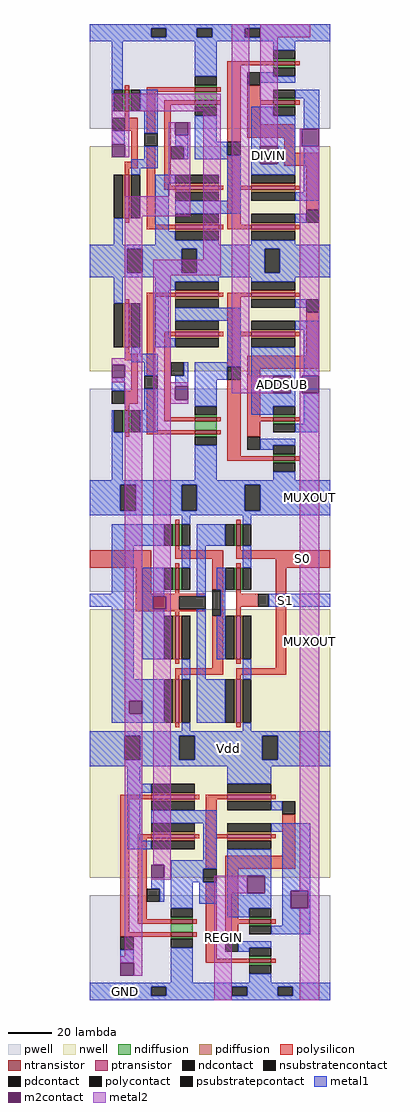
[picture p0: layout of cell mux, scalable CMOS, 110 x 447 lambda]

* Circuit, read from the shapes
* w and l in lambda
.subckt mux ADDSUB DIVIN GND MUXOUT REGIN S0 S1 Vdd
M1 n1 n2 GND GND nfet w=10 l=2
M2 n3 n4 GND GND nfet w=10 l=2
M3 n5 n2 GND GND nfet w=10 l=2
M4 n6 n4 n5 GND nfet w=10 l=2
M5 GND n7 n4 GND nfet w=10 l=2
M6 GND n8 n2 GND nfet w=10 l=2
M7 n9 n1 GND GND nfet w=10 l=2
M8 n10 n4 n9 GND nfet w=10 l=2
M9 n11 n2 n12 GND nfet w=10 l=2
M10 GND n3 n11 GND nfet w=10 l=2
M11 GND S1 n8 GND nfet w=10 l=2
M12 GND S0 n7 GND nfet w=10 l=2
M13 n13 n6 GND GND nfet w=10 l=2
M14 REGIN n13 MUXOUT GND nfet w=10 l=2
M15 n14 n10 GND GND nfet w=10 l=2
M16 ADDSUB n14 MUXOUT GND nfet w=10 l=2
M17 MUXOUT n15 DIVIN GND nfet w=10 l=2
M18 GND n12 n15 GND nfet w=10 l=2
M19 n1 n2 n16 n16 pfet w=20 l=2
M20 n3 n4 n16 n16 pfet w=20 l=2
M21 n6 n4 Vdd Vdd pfet w=20 l=2
M22 Vdd n2 n6 Vdd pfet w=20 l=2
M23 Vdd n8 n2 Vdd pfet w=20 l=2
M24 Vdd n7 n4 Vdd pfet w=20 l=2
M25 n10 n4 n16 n16 pfet w=20 l=2
M26 n16 n1 n10 n16 pfet w=20 l=2
M27 n12 n3 n16 n16 pfet w=20 l=2
M28 n16 n2 n12 n16 pfet w=20 l=2
M29 MUXOUT n6 REGIN Vdd pfet w=20 l=2
M30 Vdd n6 n13 Vdd pfet w=20 l=2
M31 Vdd S0 n7 Vdd pfet w=20 l=2
M32 Vdd S1 n8 Vdd pfet w=20 l=2
M33 MUXOUT n10 ADDSUB n16 pfet w=20 l=2
M34 n16 n10 n14 n16 pfet w=20 l=2
M35 n15 n12 n16 n16 pfet w=20 l=2
M36 DIVIN n12 MUXOUT n16 pfet w=20 l=2
.ends

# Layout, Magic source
magic
tech scmos
<< pwell >>
rect -20 399 90 447
rect -20 187 90 280
rect -20 0 90 48
<< nwell >>
rect -20 288 90 391
rect -20 56 90 179
<< polysilicon >>
rect 43 428 64 430
rect 74 428 76 430
rect -4 417 -2 419
rect 6 416 28 418
rect 38 416 40 418
rect -4 404 -2 407
rect -4 398 2 404
rect -1 384 2 398
rect 6 397 10 416
rect 14 410 28 412
rect 38 410 40 412
rect -4 381 2 384
rect -4 378 -2 381
rect -4 356 -2 358
rect 6 355 10 391
rect 14 373 17 410
rect 43 393 49 428
rect 52 412 58 419
rect 52 410 64 412
rect 74 410 76 412
rect 52 401 58 410
rect 52 395 74 401
rect 43 373 49 387
rect 69 388 74 395
rect 69 382 85 388
rect 14 371 19 373
rect 39 371 41 373
rect 43 371 54 373
rect 74 371 76 373
rect 43 355 49 371
rect 79 362 85 382
rect 6 353 19 355
rect 39 353 41 355
rect 43 353 54 355
rect 74 353 76 355
rect 6 322 19 324
rect 39 322 41 324
rect 43 322 54 324
rect 74 322 76 324
rect -4 319 -2 321
rect -4 296 -2 299
rect -4 293 2 296
rect -1 279 2 293
rect 6 286 10 322
rect 43 306 49 322
rect 14 304 19 306
rect 39 304 41 306
rect 43 304 54 306
rect 74 304 76 306
rect -4 273 2 279
rect -4 270 -2 273
rect 6 261 10 280
rect 14 267 17 304
rect 43 290 49 304
rect 79 295 85 315
rect 14 265 28 267
rect 38 265 40 267
rect -4 258 -2 260
rect 6 259 28 261
rect 38 259 40 261
rect 43 249 49 284
rect 52 289 85 295
rect 52 267 58 289
rect 52 265 64 267
rect 74 265 76 267
rect 52 258 58 265
rect 43 247 64 249
rect 74 247 76 249
rect 19 218 21 220
rect 47 218 49 220
rect 19 206 21 208
rect 47 206 49 208
rect -20 198 8 206
rect 19 202 41 206
rect 47 202 90 206
rect 19 198 21 200
rect 1 186 8 198
rect 36 188 41 202
rect 47 198 49 200
rect 65 198 90 202
rect 19 186 21 188
rect 1 185 33 186
rect 1 179 21 185
rect 1 178 33 179
rect 19 176 21 178
rect 40 176 41 188
rect 47 186 49 188
rect 47 180 57 186
rect 47 176 49 180
rect 19 154 21 156
rect 36 152 41 176
rect 47 154 49 156
rect 65 152 70 198
rect 19 149 41 152
rect 47 149 70 152
rect 19 147 21 149
rect 47 147 49 149
rect 19 125 21 127
rect 47 125 49 127
rect -6 92 8 94
rect 28 92 30 94
rect 33 92 43 94
rect 63 92 65 94
rect -6 31 -2 92
rect 33 76 38 92
rect 2 74 8 76
rect 28 74 30 76
rect 33 74 43 76
rect 63 74 65 76
rect 2 37 6 74
rect 33 60 38 74
rect 68 66 74 85
rect 2 35 17 37
rect 27 35 29 37
rect -6 29 17 31
rect 27 29 29 31
rect 33 19 38 54
rect 42 60 74 66
rect 42 37 48 60
rect 42 35 53 37
rect 63 35 65 37
rect 42 28 48 35
rect 33 17 53 19
rect 63 17 65 19
<< ndiffusion >>
rect 64 430 74 431
rect 28 418 38 419
rect -5 407 -4 417
rect -2 407 -1 417
rect 28 412 38 416
rect 28 409 38 410
rect 64 427 74 428
rect 64 412 74 413
rect 64 409 74 410
rect -5 260 -4 270
rect -2 260 -1 270
rect 28 267 38 268
rect 28 261 38 265
rect 28 258 38 259
rect 64 267 74 268
rect 64 264 74 265
rect 64 249 74 250
rect 64 246 74 247
rect 18 208 19 218
rect 21 208 22 218
rect 46 208 47 218
rect 49 208 50 218
rect 18 188 19 198
rect 21 188 22 198
rect 46 188 47 198
rect 49 188 50 198
rect 17 37 27 38
rect 17 31 27 35
rect 17 28 27 29
rect 53 37 63 38
rect 53 34 63 35
rect 53 19 63 20
rect 53 16 63 17
<< pdiffusion >>
rect -5 358 -4 378
rect -2 358 -1 378
rect 19 373 39 374
rect 54 373 74 374
rect 19 370 39 371
rect 19 355 39 356
rect 54 370 74 371
rect 54 355 74 356
rect 19 352 39 353
rect 54 352 74 353
rect 19 324 39 325
rect 54 324 74 325
rect -5 299 -4 319
rect -2 299 -1 319
rect 19 321 39 322
rect 19 306 39 307
rect 54 321 74 322
rect 54 306 74 307
rect 19 303 39 304
rect 54 303 74 304
rect 18 156 19 176
rect 21 156 22 176
rect 46 156 47 176
rect 49 156 50 176
rect 18 127 19 147
rect 21 127 22 147
rect 46 127 47 147
rect 49 127 50 147
rect 8 94 28 95
rect 43 94 63 95
rect 8 91 28 92
rect 8 76 28 77
rect 43 91 63 92
rect 43 76 63 77
rect 8 73 28 74
rect 43 73 63 74
<< metal1 >>
rect -20 445 90 447
rect -20 441 8 445
rect 15 441 29 445
rect 36 441 51 445
rect 58 441 90 445
rect -20 439 90 441
rect -10 417 -5 439
rect 28 423 38 439
rect 64 435 74 439
rect 58 423 64 425
rect 58 420 74 423
rect -10 407 -9 417
rect 3 407 11 417
rect 74 413 85 417
rect -10 392 -4 398
rect 5 397 11 407
rect 19 391 25 396
rect 5 385 11 391
rect 23 385 25 391
rect 28 393 38 405
rect 54 405 64 409
rect 28 387 43 393
rect 28 385 49 387
rect -1 381 11 385
rect -1 378 3 381
rect 10 374 19 378
rect -9 346 -5 358
rect 10 352 16 374
rect 43 366 49 385
rect 54 391 74 405
rect 78 399 85 413
rect 54 383 58 391
rect 66 383 74 391
rect 54 378 74 383
rect 78 370 85 391
rect 74 366 85 370
rect 19 360 49 366
rect 74 356 79 360
rect 10 348 19 352
rect 10 346 39 348
rect 54 346 74 348
rect -20 344 90 346
rect -20 333 -3 344
rect 4 333 22 344
rect 29 333 60 344
rect 67 333 90 344
rect -20 331 90 333
rect -9 319 -5 331
rect 10 329 39 331
rect 10 325 19 329
rect 54 329 74 331
rect 10 303 16 325
rect 74 317 79 321
rect 19 311 49 317
rect 10 299 19 303
rect -1 296 3 299
rect -1 292 11 296
rect 43 292 49 311
rect 74 307 85 311
rect -10 279 -4 285
rect 5 286 11 292
rect 23 286 25 292
rect 5 270 11 280
rect 19 281 25 286
rect 28 290 49 292
rect 28 284 43 290
rect 54 286 74 299
rect 78 286 85 307
rect -10 260 -9 270
rect 3 260 11 270
rect 28 272 38 284
rect 54 278 64 286
rect 72 278 74 286
rect 54 272 74 278
rect 54 268 64 272
rect 78 264 85 278
rect 74 260 85 264
rect -10 238 -5 260
rect 28 238 38 254
rect 58 254 74 257
rect 58 252 64 254
rect 64 238 74 242
rect -20 236 90 238
rect -20 224 -6 236
rect 1 224 22 236
rect 29 224 51 236
rect 58 224 90 236
rect -20 222 90 224
rect 22 218 26 222
rect 50 218 54 222
rect -10 208 14 218
rect -10 186 0 208
rect 22 198 26 208
rect -20 180 0 186
rect -10 147 0 180
rect 4 185 14 198
rect 29 208 42 218
rect 29 185 33 208
rect 50 198 54 208
rect 38 188 42 198
rect 4 179 9 185
rect 4 156 14 179
rect 22 147 26 156
rect -10 137 14 147
rect -10 131 -2 137
rect 4 131 14 137
rect -10 127 14 131
rect 29 147 33 179
rect 40 176 42 188
rect 62 180 90 186
rect 38 156 42 176
rect 50 147 54 156
rect 29 127 42 147
rect 22 123 26 127
rect 50 123 54 127
rect -20 121 90 123
rect -20 110 -4 121
rect 3 110 21 121
rect 28 110 59 121
rect 66 110 90 121
rect -20 107 90 110
rect -3 99 3 107
rect 43 99 63 107
rect -3 95 8 99
rect -3 73 3 95
rect 63 87 68 91
rect 8 81 38 87
rect -3 69 8 73
rect 32 64 38 81
rect 63 77 81 81
rect 8 51 14 56
rect 12 45 14 51
rect 17 60 38 64
rect 17 54 32 60
rect 17 42 27 54
rect 30 44 38 54
rect 43 57 63 69
rect 43 49 52 57
rect 60 49 63 57
rect 43 42 63 49
rect 43 38 53 42
rect 68 50 81 77
rect 68 42 72 50
rect 80 42 81 50
rect 68 34 81 42
rect 63 30 81 34
rect -6 17 0 23
rect 17 8 27 24
rect 48 24 63 27
rect 48 22 53 24
rect 53 8 63 12
rect -20 6 90 8
rect -20 2 8 6
rect 15 2 45 6
rect 52 2 66 6
rect 73 2 90 6
rect -20 0 90 2
<< metal2 >>
rect -10 407 40 415
rect -10 392 -2 407
rect -4 386 -2 392
rect 16 396 19 402
rect 25 396 26 402
rect 16 368 26 396
rect -4 359 26 368
rect -4 294 4 359
rect 32 339 40 407
rect -10 291 4 294
rect -4 285 4 291
rect -10 283 4 285
rect -4 137 4 283
rect -4 131 -2 137
rect -4 20 4 131
rect 9 332 40 339
rect 9 283 17 332
rect 45 286 53 447
rect 58 441 81 447
rect 58 391 66 441
rect 76 391 77 399
rect 76 286 85 391
rect 9 281 25 283
rect 9 275 19 281
rect 45 278 64 286
rect 76 278 77 286
rect 9 273 25 275
rect 9 185 17 273
rect 15 179 17 185
rect 9 62 17 179
rect 14 56 17 62
rect 8 55 17 56
rect -6 17 4 20
rect 0 11 4 17
rect 37 49 52 57
rect 76 50 85 278
rect 37 0 45 49
rect 80 42 85 50
rect 76 0 85 42
<< ntransistor >>
rect 64 428 74 430
rect -4 407 -2 417
rect 28 416 38 418
rect 28 410 38 412
rect 64 410 74 412
rect -4 260 -2 270
rect 28 265 38 267
rect 28 259 38 261
rect 64 265 74 267
rect 64 247 74 249
rect 19 208 21 218
rect 47 208 49 218
rect 19 188 21 198
rect 47 188 49 198
rect 17 35 27 37
rect 17 29 27 31
rect 53 35 63 37
rect 53 17 63 19
<< ptransistor >>
rect -4 358 -2 378
rect 19 371 39 373
rect 54 371 74 373
rect 19 353 39 355
rect 54 353 74 355
rect 19 322 39 324
rect 54 322 74 324
rect -4 299 -2 319
rect 19 304 39 306
rect 54 304 74 306
rect 19 156 21 176
rect 47 156 49 176
rect 19 127 21 147
rect 47 127 49 147
rect 8 92 28 94
rect 43 92 63 94
rect 8 74 28 76
rect 43 74 63 76
<< polycontact >>
rect -10 398 -4 404
rect 5 391 11 397
rect 52 419 58 425
rect 17 385 23 391
rect 43 387 49 393
rect 79 356 85 362
rect 79 315 85 321
rect 5 280 11 286
rect -10 273 -4 279
rect 17 286 23 292
rect 43 284 49 290
rect 52 252 58 258
rect 21 179 33 185
rect 36 176 40 188
rect 57 180 62 186
rect 68 85 74 91
rect 32 54 38 60
rect 6 45 12 51
rect -6 23 0 29
rect 42 22 48 28
<< ndcontact >>
rect 64 431 74 435
rect 28 419 38 423
rect -9 407 -5 417
rect -1 407 3 417
rect 28 405 38 409
rect 64 423 74 427
rect 64 413 74 417
rect 64 405 74 409
rect -9 260 -5 270
rect -1 260 3 270
rect 28 268 38 272
rect 28 254 38 258
rect 64 268 74 272
rect 64 260 74 264
rect 64 250 74 254
rect 64 242 74 246
rect 14 208 18 218
rect 22 208 26 218
rect 42 208 46 218
rect 50 208 54 218
rect 14 188 18 198
rect 22 188 26 198
rect 42 188 46 198
rect 50 188 54 198
rect 17 38 27 42
rect 17 24 27 28
rect 53 38 63 42
rect 53 30 63 34
rect 53 20 63 24
rect 53 12 63 16
<< pdcontact >>
rect -9 358 -5 378
rect -1 358 3 378
rect 19 374 39 378
rect 54 374 74 378
rect 19 366 39 370
rect 19 356 39 360
rect 54 366 74 370
rect 54 356 74 360
rect 19 348 39 352
rect 54 348 74 352
rect 19 325 39 329
rect 54 325 74 329
rect -9 299 -5 319
rect -1 299 3 319
rect 19 317 39 321
rect 19 307 39 311
rect 54 317 74 321
rect 54 307 74 311
rect 19 299 39 303
rect 54 299 74 303
rect 14 156 18 176
rect 22 156 26 176
rect 42 156 46 176
rect 50 156 54 176
rect 14 127 18 147
rect 22 127 26 147
rect 42 127 46 147
rect 50 127 54 147
rect 8 95 28 99
rect 43 95 63 99
rect 8 87 28 91
rect 8 77 28 81
rect 43 87 63 91
rect 43 77 63 81
rect 8 69 28 73
rect 43 69 63 73
<< m2contact >>
rect -10 386 -4 392
rect 19 396 25 402
rect 77 391 85 399
rect 58 383 66 391
rect -10 285 -4 291
rect 19 275 25 281
rect 64 278 72 286
rect 77 278 85 286
rect 9 179 15 185
rect -2 131 4 137
rect 8 56 14 62
rect 52 49 60 57
rect 72 42 80 50
rect -6 11 0 17
<< psubstratepcontact >>
rect 8 441 15 445
rect 29 441 36 445
rect 51 441 58 445
rect -6 224 1 236
rect 22 224 29 236
rect 51 224 58 236
rect 8 2 15 6
rect 45 2 52 6
rect 66 2 73 6
<< nsubstratencontact >>
rect -3 333 4 344
rect 22 333 29 344
rect 60 333 67 344
rect -4 110 3 121
rect 21 110 28 121
rect 59 110 66 121
<< labels >>
rlabel metal1 62 181 77 185 0 S1
rlabel polysilicon 70 198 85 206 0 S0
rlabel metal2 76 115 85 345 0 MUXOUT
rlabel metal2 37 0 45 57 0 REGIN
rlabel metal2 76 50 85 278 0 MUXOUT
rlabel m2contact 64 278 72 286 0 ADDSUB
rlabel metal1 -15 0 8 8 0 GND
rlabel metal1 28 107 59 123 0 Vdd
rlabel m2contact 58 383 66 391 0 DIVIN
<< end >>
